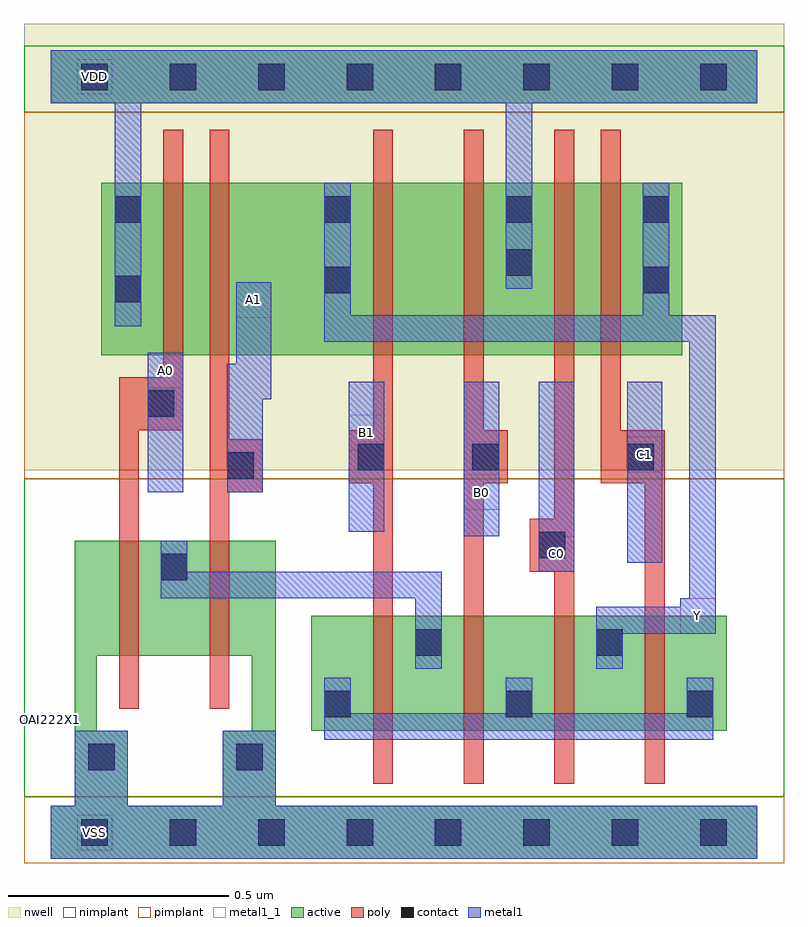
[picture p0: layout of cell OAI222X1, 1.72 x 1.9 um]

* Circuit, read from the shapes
.subckt OAI222X1 A0 A1 B0 B1 C0 C1 VDD VSS Y
M1 n1 A0 VSS VSS nfet w=0.26u l=0.045u
M2 VSS A1 n1 VSS nfet w=0.26u l=0.045u
M3 n1 B1 n2 VSS nfet w=0.26u l=0.045u
M4 n2 B0 n1 VSS nfet w=0.26u l=0.045u
M5 Y C0 n2 VSS nfet w=0.26u l=0.045u
M6 n2 C1 Y VSS nfet w=0.26u l=0.045u
M7 n3 A0 VDD VDD pfet w=0.39u l=0.045u
M8 Y A1 n3 VDD pfet w=0.39u l=0.045u
M9 n4 B1 Y VDD pfet w=0.39u l=0.045u
M10 VDD B0 n4 VDD pfet w=0.39u l=0.045u
M11 n5 C0 VDD VDD pfet w=0.39u l=0.045u
M12 Y C1 n5 VDD pfet w=0.39u l=0.045u
.ends

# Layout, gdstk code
import gdstk
lib = gdstk.Library(unit=1e-6, precision=5e-10)
def R(c, l, rs):  # rectangles x0, y0, x1, y1
    for r in rs: c.add(gdstk.rectangle(r[:2], r[2:], *l))
def A(c, l, x, y, w, h, nx, ny, dx, dy):  # array of equal rectangles
    R(c, l, [(x+i*dx, y+j*dy, x+i*dx+w, y+j*dy+h) for i in range(nx) for j in range(ny)])
def P(c, l, *ps):  # polygons
    for p in ps: c.add(gdstk.Polygon(p, *l))
active = (1, 0)
nwell = (2, 0)
poly = (3, 0)
nimplant = (4, 0)
pimplant = (5, 0)
contact = (6, 0)
metal1 = (7, 0)
metal1_1 = (7, 1)

oai222x1 = lib.new_cell('OAI222X1')
R(oai222x1, active, [(0.59,0.23,1.53,0.49), (0.115,1.08,1.43,1.47), (0,1.65,1.6,1.77)])
P(oai222x1, active, [(1.6,0.06),(0.51,0.06),(0.51,0.66),(0.455,0.66),(0.455,0.23),(0.39,0.23),(0.39,0.06),(0.175,0.06),(0.175,0.23),(0.105,0.23),(0.105,0.4),(0.455,0.4),(0.455,0.66),(0.055,0.66),(0.055,0.06),(0,0.06),(0,-0.06),(1.6,-0.06)])
R(oai222x1, nwell, [(-0.06,0.82,1.66,1.83)])
P(oai222x1, poly, [(1.39,0.91),(1.29,0.91),(1.29,1.59),(1.245,1.59),(1.245,0.79),(1.345,0.79),(1.345,0.11),(1.39,0.11)],
  [(1.185,1.59),(1.14,1.59),(1.14,0.71),(1.085,0.71),(1.085,0.59),(1.14,0.59),(1.14,0.11),(1.185,0.11)],
  [(1.035,0.91),(0.98,0.91),(0.98,1.59),(0.935,1.59),(0.935,0.11),(0.98,0.11),(0.98,0.79),(1.035,0.79)],
  [(0.775,1.59),(0.73,1.59),(0.73,0.91),(0.675,0.91),(0.675,0.79),(0.73,0.79),(0.73,0.11),(0.775,0.11)],
  [(0.48,0.89),(0.405,0.89),(0.405,1.59),(0.36,1.59),(0.36,0.28),(0.405,0.28),(0.405,0.77),(0.48,0.77)],
  [(0.3,1.59),(0.255,1.59),(0.255,1.03),(0.155,1.03),(0.155,0.28),(0.2,0.28),(0.2,0.91),(0.3,0.91)])
R(oai222x1, nimplant, [(-0.06,0.08,1.66,0.8), (-0.06,1.63,1.66,1.78)])
R(oai222x1, pimplant, [(-0.06,-0.07,1.66,0.08), (-0.06,0.8,1.66,1.63)])
A(oai222x1, contact, 0.07, -0.03, 0.06, 0.06, 8, 2, 0.2, 1.71)
A(oai222x1, contact, 0.62, 0.26, 0.06, 0.06, 3, 1, 0.41, 0)
R(oai222x1, contact, [(0.085,0.14,0.145,0.2), (0.42,0.14,0.48,0.2), (0.825,0.4,0.885,0.46), (1.235,0.4,1.295,0.46), (0.25,0.57,0.31,0.63), (1.105,0.62,1.165,0.68), (0.4,0.8,0.46,0.86), (0.695,0.82,0.755,0.88), (0.955,0.82,1.015,0.88), (1.305,0.82,1.365,0.88), (0.22,0.94,0.28,1), (0.145,1.2,0.205,1.26), (0.62,1.22,0.68,1.28), (1.34,1.22,1.4,1.28), (1.03,1.26,1.09,1.32), (0.145,1.38,0.205,1.44), (0.62,1.38,0.68,1.44), (1.03,1.38,1.09,1.44), (1.34,1.38,1.4,1.44)])
R(oai222x1, metal1, [(1.105,0.59,1.185,1.02), (1.305,0.61,1.385,1.02), (0.935,0.67,1.015,1.02), (0.675,0.68,0.755,1.02), (0.22,0.77,0.3,1.085)])
P(oai222x1, metal1, [(1.6,0.06),(0.51,0.06),(0.51,0.23),(0.39,0.23),(0.39,0.06),(0.175,0.06),(0.175,0.23),(0.055,0.23),(0.055,0.06),(0,0.06),(0,-0.06),(1.6,-0.06)],
  [(1.6,1.77),(0,1.77),(0,1.65),(0.145,1.65),(0.145,1.145),(0.205,1.145),(0.205,1.65),(1.03,1.65),(1.03,1.23),(1.09,1.23),(1.09,1.65),(1.6,1.65)],
  [(1.505,1.17),(1.4,1.17),(1.4,1.47),(1.34,1.47),(1.34,1.17),(0.68,1.17),(0.68,1.47),(0.62,1.47),(0.62,1.11),(1.445,1.11),(1.445,0.53),(1.425,0.53),(1.425,0.51),(1.235,0.51),(1.235,0.37),(1.295,0.37),(1.295,0.45),(1.505,0.45)],
  [(1.5,0.35),(1.44,0.35),(1.44,0.27),(1.09,0.27),(1.09,0.35),(1.03,0.35),(1.03,0.27),(0.68,0.27),(0.68,0.35),(0.62,0.35),(0.62,0.21),(1.5,0.21)],
  [(0.885,0.59),(0.31,0.59),(0.31,0.66),(0.25,0.66),(0.25,0.53),(0.825,0.53),(0.825,0.37),(0.885,0.37)],
  [(0.5,1.245),(0.42,1.245),(0.42,1.06),(0.4,1.06),(0.4,0.77),(0.48,0.77),(0.48,0.98),(0.5,0.98)])
R(oai222x1, metal1_1, [(0.06,-0.04,0.14,0.04), (1.425,0.45,1.505,0.53), (1.105,0.59,1.185,0.67), (0.935,0.73,1.015,0.81), (1.305,0.815,1.385,0.895), (0.675,0.865,0.755,0.945), (0.22,1.005,0.3,1.085), (0.42,1.165,0.5,1.245), (0.06,1.67,0.14,1.75)])
oai222x1.add(gdstk.Label('B0', (0.975,0.77), layer=7, texttype=1))
oai222x1.add(gdstk.Label('VSS', (0.1,0), layer=7, texttype=1))
oai222x1.add(gdstk.Label('Y', (1.465,0.49), layer=7, texttype=1))
oai222x1.add(gdstk.Label('B1', (0.715,0.905), layer=7, texttype=1))
oai222x1.add(gdstk.Label('A0', (0.26,1.045), layer=7, texttype=1))
oai222x1.add(gdstk.Label('C0', (1.145,0.63), layer=7, texttype=1))
oai222x1.add(gdstk.Label('A1', (0.46,1.205), layer=7, texttype=1))
oai222x1.add(gdstk.Label('C1', (1.345,0.855), layer=7, texttype=1))
oai222x1.add(gdstk.Label('VDD', (0.1,1.71), layer=7, texttype=1))
oai222x1.add(gdstk.Label('OAI222X1', (0,0.255), layer=63, texttype=0))

lib.write_gds('OAI222X1.gds')
